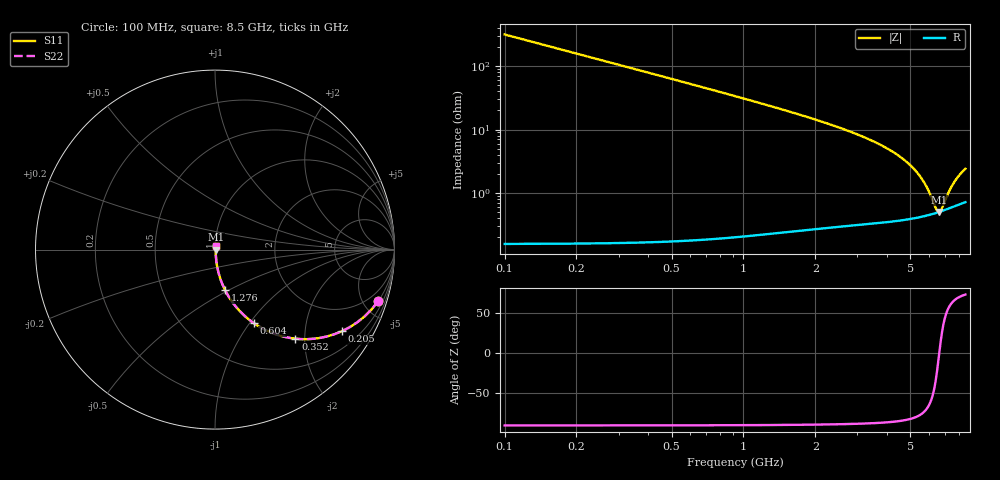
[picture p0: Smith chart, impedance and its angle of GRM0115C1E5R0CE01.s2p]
!Murata Part Number: GRM0115C1E5R0CE01
!These Parameters are Measured in Series Mode Connection
!Data Generated on Mar 30, 2021
!  o--ll--o
!Port1  Port2
!  o------o
!Operation Temp=25[degC], DC Bias Voltage=0[V]
!Freq. Start=100[MHz] Stop=9[GHz] 401[Steps]
# Hz S RI R 50
!Freq.(Hz) S11(Real) S11(Imag) S21(Real) S21(Imag) S12(Real) S12(Imag) S22(Real) S22(Imag)
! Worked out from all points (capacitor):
!   401 points, 100 MHz to 8.5 GHz, reference 50 ohm
!   read as one part in series: C = 5 pF near 142 MHz
!   lowest |Z| = 497 mohm at 6.589 GHz (marker M1)
!   series resonance near 6.606 GHz, so ESL is about 120 pH
!   S11 on the Smith chart (normalised r, x): 100 MHz: 1.00, -6.36; 205 MHz: 1.00, -3.10; 352 MHz: 1.00, -1.80; 604 MHz: 1.00, -1.04; 1.276 GHz: 1.00, -0.48; 8.5 GHz: 1.01, +0.05
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1e8  0.91 -0.2859  0.09 0.2859  0.09 0.2859  0.91 -0.2859
1.42e8  0.8337 -0.372  0.1663 0.372  0.1663 0.372  0.8337 -0.372
2.05e8  0.7062 -0.455  0.2938 0.455  0.2938 0.455  0.7062 -0.455
2.68e8  0.5842 -0.4922  0.4158 0.4922  0.4158 0.4922  0.5842 -0.4922
3.52e8  0.4484 -0.4964  0.5516 0.4964  0.5516 0.4964  0.4484 -0.4964
4.78e8  0.3052 -0.4592  0.6948 0.4592  0.6948 0.4592  0.3052 -0.4592
6.04e8  0.215 -0.4091  0.785 0.4091  0.785 0.4091  0.215 -0.4091
8.77e8  0.1138 -0.3148  0.8862 0.3148  0.8862 0.3148  0.1138 -0.3148
1.276e9  0.0561 -0.2255  0.9439 0.2255  0.9439 0.2255  0.0561 -0.2255
1.507e9  0.0404 -0.191  0.9596 0.191  0.9596 0.191  0.0404 -0.191
2.914e9  0.0106 -0.0863  0.9894 0.0863  0.9894 0.0863  0.0106 -0.0863
4.3e9  0.00531 -0.042  0.9947 0.042  0.9947 0.042  0.00531 -0.042
5.098e9  0.00451 -0.0248  0.9955 0.0248  0.9955 0.0248  0.00451 -0.0248
5.707e9  0.00444 -0.0139  0.9956 0.0139  0.9956 0.0139  0.00444 -0.0139
6.001e9  0.00453 -0.00907  0.9955 0.00907  0.9955 0.00907  0.00453 -0.00907
6.4e9  0.00478 -0.00298  0.9952 0.00298  0.9952 0.00298  0.00478 -0.00298
6.589e9  0.00494 -0.000243  0.9951 0.000243  0.9951 0.000243  0.00494 -0.000243
6.757e9  0.00511 0.00211  0.9949 -0.00211  0.9949 -0.00211  0.00511 0.00211
7.114e9  0.00553 0.00688  0.9945 -0.00688  0.9945 -0.00688  0.00553 0.00688
7.408e9  0.00593 0.0106  0.9941 -0.0106  0.9941 -0.0106  0.00593 0.0106
7.723e9  0.0064 0.0143  0.9936 -0.0143  0.9936 -0.0143  0.0064 0.0143
8.5e9  0.00758 0.0226  0.9924 -0.0226  0.9924 -0.0226  0.00758 0.0226
